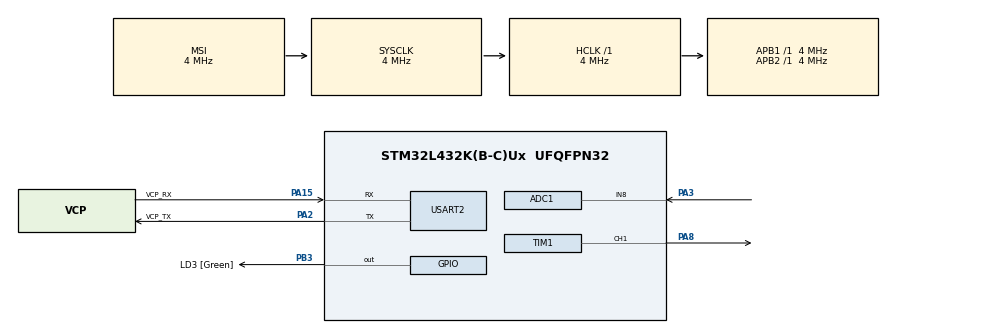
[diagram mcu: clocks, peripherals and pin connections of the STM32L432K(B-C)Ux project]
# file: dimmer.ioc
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ADC1.Channel-0\#ChannelRegularConversion=ADC_CHANNEL_8
ADC1.ContinuousConvMode=ENABLE
ADC1.DMAContinuousRequests=ENABLE
ADC1.NbrOfConversionFlag=1
ADC1.OffsetNumber-0\#ChannelRegularConversion=ADC_OFFSET_NONE
ADC1.Rank-0\#ChannelRegularConversion=1
ADC1.SamplingTime-0\#ChannelRegularConversion=ADC_SAMPLETIME_47CYCLES_5
ADC1.master=1
Dma.ADC1.0.Direction=DMA_PERIPH_TO_MEMORY
Dma.ADC1.0.Instance=DMA1_Channel1
Dma.ADC1.0.MemDataAlignment=DMA_MDATAALIGN_HALFWORD
Dma.ADC1.0.MemInc=DMA_MINC_ENABLE
Dma.ADC1.0.Mode=DMA_CIRCULAR
Dma.ADC1.0.PeriphDataAlignment=DMA_PDATAALIGN_HALFWORD
Dma.ADC1.0.PeriphInc=DMA_PINC_DISABLE
Dma.ADC1.0.Priority=DMA_PRIORITY_LOW
Dma.Request0=ADC1
Mcu.Family=STM32L4
Mcu.Name=STM32L432K(B-C)Ux
Mcu.Package=UFQFPN32
NVIC.DMA1_Channel1_IRQn=true\:0\:0\:false\:false\:true\:false\:true\:true
NVIC.PriorityGroup=NVIC_PRIORITYGROUP_4
PA13\ (JTMS-SWDIO).GPIO_Label=SWDIO
PA13\ (JTMS-SWDIO).Mode=Serial_Wire
PA13\ (JTMS-SWDIO).Signal=SYS_JTMS-SWDIO
PA14\ (JTCK-SWCLK).GPIO_Label=SWCLK
PA14\ (JTCK-SWCLK).Mode=Serial_Wire
PA14\ (JTCK-SWCLK).Signal=SYS_JTCK-SWCLK
PA15\ (JTDI).GPIO_Label=VCP_RX
PA15\ (JTDI).Mode=Asynchronous
PA15\ (JTDI).Signal=USART2_RX
PA2.GPIO_Label=VCP_TX
PA2.Mode=Asynchronous
PA2.Signal=USART2_TX
PA3.Signal=ADCx_IN8
PA8.Signal=S_TIM1_CH1
PB3\ (JTDO-TRACESWO).GPIO_Label=LD3 [Green]
PB3\ (JTDO-TRACESWO).Signal=GPIO_Output
ProjectManager.HeapSize=0x200
ProjectManager.StackSize=0x400
ProjectManager.TargetToolchain=STM32CubeIDE
RCC.ADCFreq_Value=32000000
RCC.AHBFreq_Value=4000000
RCC.APB1Freq_Value=4000000
RCC.APB1TimFreq_Value=4000000
RCC.APB2Freq_Value=4000000
RCC.APB2TimFreq_Value=4000000
RCC.CortexFreq_Value=4000000
RCC.HCLKFreq_Value=4000000
RCC.HSE_VALUE=8000000
RCC.HSI16_VALUE=16000000
RCC.HSI48_VALUE=48000000
RCC.HSI_VALUE=16000000
RCC.MSI_VALUE=4000000
RCC.PLLMUL=RCC_PLLMUL_4
RCC.PLLN=16
RCC.PLLSAI1N=16
RCC.SYSCLKFreq_VALUE=4000000
RCC.USBFreq_Value=32000000
RCC.VCOOutputFreq_Value=64000000
SH.ADCx_IN8.0=ADC1_IN8,IN8-Single-Ended
SH.S_TIM1_CH1.0=TIM1_CH1,PWM Generation1 CH1
TIM1.AutoReloadPreload=TIM_AUTORELOAD_PRELOAD_ENABLE
TIM1.Channel-PWM\ Generation1\ CH1=TIM_CHANNEL_1
TIM1.Period=255
TIM1.Prescaler=15
USART2.VirtualMode-Asynchronous=VM_ASYNC
VP_TIM1_VS_ClockSourceINT.Mode=Internal
board=NUCLEO-L432KC

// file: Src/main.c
/* USER CODE BEGIN Header */
/**
  ******************************************************************************
  * @file           : main.c
  * @brief          : Main program body
  ******************************************************************************
  * @attention
  *
  * Copyright (c) 2025 STMicroelectronics.
  * All rights reserved.
  *
  * This software is licensed under terms that can be found in the LICENSE file
  * in the root directory of this software component.
  * If no LICENSE file comes with this software, it is provided AS-IS.
  *
  ******************************************************************************
  */
/* USER CODE END Header */
#include "main.h"

/* USER CODE BEGIN Includes */
#include <string.h>
#include <stdarg.h>
#include <stdio.h>
#include <stdint.h>
extern UART_HandleTypeDef huart2;
const int   ADC_MAX = 4095;
#define ADC_BUF_LEN 128
volatile uint16_t adc_buf[ADC_BUF_LEN];

static uint16_t get_avg(const volatile uint16_t *buf, size_t n);
static float get_volts(uint16_t sample, float vref);

void uart_print(const char *msg)
{
    HAL_UART_Transmit(&huart2, (uint8_t*)msg, strlen(msg), HAL_MAX_DELAY);
}

void uart_printf(const char *fmt, ...)
{
    char buf[128];
    va_list args;
    va_start(args, fmt);
    vsnprintf(buf, sizeof(buf), fmt, args);
    va_end(args);
    HAL_UART_Transmit(&huart2, (uint8_t*)buf, strlen(buf), HAL_MAX_DELAY);
}

static uint16_t get_avg(const volatile uint16_t *buf, size_t n)
{
    uint32_t sum = 0;
    for (size_t i = 0; i < n; ++i) sum += buf[i];   // reading volatile is fine
    return (uint16_t)(sum / n);
}

static float get_volts(uint16_t avg, float vref)
{
    return (vref * (float)avg) / ADC_MAX;
}
/* USER CODE END Includes */

ADC_HandleTypeDef hadc1;
DMA_HandleTypeDef hdma_adc1;

TIM_HandleTypeDef htim1;
UART_HandleTypeDef huart2;

void SystemClock_Config(void);
static void MX_GPIO_Init(void);
static void MX_DMA_Init(void);
static void MX_ADC1_Init(void);
static void MX_USART2_UART_Init(void);
static void MX_TIM1_Init(void);

int main(void)
{
    HAL_Init();
    SystemClock_Config();
    MX_GPIO_Init();
    MX_DMA_Init();
    MX_ADC1_Init();
    MX_TIM1_Init();
    MX_USART2_UART_Init();
    // Calibrate once after init
    HAL_ADCEx_Calibration_Start(&hadc1, ADC_SINGLE_ENDED);
    HAL_ADC_Start_DMA(&hadc1, (uint32_t*)adc_buf, ADC_BUF_LEN);
    HAL_TIM_PWM_Start(&htim1, TIM_CHANNEL_1);

    const float vref = 3.3f;
    while (1) {
    	uint16_t raw = get_avg(adc_buf, ADC_BUF_LEN); // 0 - 4095
    	int32_t duty = (uint32_t)raw * 255u + 2047u; //Adding half the divisor before dividing implements round-to-nearest
    	duty /= 4095u;
    	float volts = get_volts(raw, vref);
    	uart_printf("Avg: %u   V: %.3f\r\n", raw, volts);
    	uart_printf("Value: %u  \r\n", duty);
    	__HAL_TIM_SET_COMPARE(&htim1, TIM_CHANNEL_1, duty);
    	HAL_Delay(200);
    }
}

void SystemClock_Config(void)
{
  RCC_OscInitTypeDef RCC_OscInitStruct = {0};
  RCC_ClkInitTypeDef RCC_ClkInitStruct = {0};

  /** Configure the main internal regulator output voltage
  */
  if (HAL_PWREx_ControlVoltageScaling(PWR_REGULATOR_VOLTAGE_SCALE1) != HAL_OK)
  {
    Error_Handler();
  }

  /** Initializes the RCC Oscillators according to the specified parameters
  * in the RCC_OscInitTypeDef structure.
  */
  RCC_OscInitStruct.OscillatorType = RCC_OSCILLATORTYPE_MSI;
  RCC_OscInitStruct.MSIState = RCC_MSI_ON;
  RCC_OscInitStruct.MSICalibrationValue = 0;
  RCC_OscInitStruct.MSIClockRange = RCC_MSIRANGE_6;
  RCC_OscInitStruct.PLL.PLLState = RCC_PLL_NONE;
  if (HAL_RCC_OscConfig(&RCC_OscInitStruct) != HAL_OK)
  {
    Error_Handler();
  }

  /** Initializes the CPU, AHB and APB buses clocks
  */
  RCC_ClkInitStruct.ClockType = RCC_CLOCKTYPE_HCLK|RCC_CLOCKTYPE_SYSCLK
                              |RCC_CLOCKTYPE_PCLK1|RCC_CLOCKTYPE_PCLK2;
  RCC_ClkInitStruct.SYSCLKSource = RCC_SYSCLKSOURCE_MSI;
  RCC_ClkInitStruct.AHBCLKDivider = RCC_SYSCLK_DIV1;
  RCC_ClkInitStruct.APB1CLKDivider = RCC_HCLK_DIV1;
  RCC_ClkInitStruct.APB2CLKDivider = RCC_HCLK_DIV1;

  if (HAL_RCC_ClockConfig(&RCC_ClkInitStruct, FLASH_LATENCY_0) != HAL_OK)
  {
    Error_Handler();
  }
}

static void MX_ADC1_Init(void)
{

  ADC_ChannelConfTypeDef sConfig = {0};

  /** Common config
  */
  hadc1.Instance = ADC1;
  hadc1.Init.ClockPrescaler = ADC_CLOCK_ASYNC_DIV1;
  hadc1.Init.Resolution = ADC_RESOLUTION_12B;
  hadc1.Init.DataAlign = ADC_DATAALIGN_RIGHT;
  hadc1.Init.ScanConvMode = ADC_SCAN_DISABLE;
  hadc1.Init.EOCSelection = ADC_EOC_SINGLE_CONV;
  hadc1.Init.LowPowerAutoWait = DISABLE;
  hadc1.Init.ContinuousConvMode = ENABLE;
  hadc1.Init.NbrOfConversion = 1;
  hadc1.Init.DiscontinuousConvMode = DISABLE;
  hadc1.Init.ExternalTrigConv = ADC_SOFTWARE_START;
  hadc1.Init.ExternalTrigConvEdge = ADC_EXTERNALTRIGCONVEDGE_NONE;
  hadc1.Init.DMAContinuousRequests = ENABLE;
  hadc1.Init.Overrun = ADC_OVR_DATA_PRESERVED;
  hadc1.Init.OversamplingMode = DISABLE;
  if (HAL_ADC_Init(&hadc1) != HAL_OK)
  {
    Error_Handler();
  }

  /** Configure Regular Channel
  */
  sConfig.Channel = ADC_CHANNEL_8;
  sConfig.Rank = ADC_REGULAR_RANK_1;
  sConfig.SamplingTime = ADC_SAMPLETIME_47CYCLES_5;
  sConfig.SingleDiff = ADC_SINGLE_ENDED;
  sConfig.OffsetNumber = ADC_OFFSET_NONE;
  sConfig.Offset = 0;
  if (HAL_ADC_ConfigChannel(&hadc1, &sConfig) != HAL_OK)
  {
    Error_Handler();
  }

}

static void MX_TIM1_Init(void)
{

  TIM_ClockConfigTypeDef sClockSourceConfig = {0};
  TIM_MasterConfigTypeDef sMasterConfig = {0};
  TIM_OC_InitTypeDef sConfigOC = {0};
  TIM_BreakDeadTimeConfigTypeDef sBreakDeadTimeConfig = {0};

  htim1.Instance = TIM1;
  htim1.Init.Prescaler = 15;
  htim1.Init.CounterMode = TIM_COUNTERMODE_UP;
  htim1.Init.Period = 255;
  htim1.Init.ClockDivision = TIM_CLOCKDIVISION_DIV1;
  htim1.Init.RepetitionCounter = 0;
  htim1.Init.AutoReloadPreload = TIM_AUTORELOAD_PRELOAD_ENABLE;
  if (HAL_TIM_Base_Init(&htim1) != HAL_OK)
  {
    Error_Handler();
  }
  sClockSourceConfig.ClockSource = TIM_CLOCKSOURCE_INTERNAL;
  if (HAL_TIM_ConfigClockSource(&htim1, &sClockSourceConfig) != HAL_OK)
  {
    Error_Handler();
  }
  if (HAL_TIM_PWM_Init(&htim1) != HAL_OK)
  {
    Error_Handler();
  }
  sMasterConfig.MasterOutputTrigger = TIM_TRGO_RESET;
  sMasterConfig.MasterOutputTrigger2 = TIM_TRGO2_RESET;
  sMasterConfig.MasterSlaveMode = TIM_MASTERSLAVEMODE_DISABLE;
  if (HAL_TIMEx_MasterConfigSynchronization(&htim1, &sMasterConfig) != HAL_OK)
  {
    Error_Handler();
  }
  sConfigOC.OCMode = TIM_OCMODE_PWM1;
  sConfigOC.Pulse = 0;
  sConfigOC.OCPolarity = TIM_OCPOLARITY_HIGH;
  sConfigOC.OCNPolarity = TIM_OCNPOLARITY_HIGH;
  sConfigOC.OCFastMode = TIM_OCFAST_DISABLE;
  sConfigOC.OCIdleState = TIM_OCIDLESTATE_RESET;
  sConfigOC.OCNIdleState = TIM_OCNIDLESTATE_RESET;
  if (HAL_TIM_PWM_ConfigChannel(&htim1, &sConfigOC, TIM_CHANNEL_1) != HAL_OK)
  {
    Error_Handler();
  }
  sBreakDeadTimeConfig.OffStateRunMode = TIM_OSSR_DISABLE;
  sBreakDeadTimeConfig.OffStateIDLEMode = TIM_OSSI_DISABLE;
  sBreakDeadTimeConfig.LockLevel = TIM_LOCKLEVEL_OFF;
  sBreakDeadTimeConfig.DeadTime = 0;
  sBreakDeadTimeConfig.BreakState = TIM_BREAK_DISABLE;
  sBreakDeadTimeConfig.BreakPolarity = TIM_BREAKPOLARITY_HIGH;
  sBreakDeadTimeConfig.BreakFilter = 0;
  sBreakDeadTimeConfig.Break2State = TIM_BREAK2_DISABLE;
  sBreakDeadTimeConfig.Break2Polarity = TIM_BREAK2POLARITY_HIGH;
  sBreakDeadTimeConfig.Break2Filter = 0;
  sBreakDeadTimeConfig.AutomaticOutput = TIM_AUTOMATICOUTPUT_DISABLE;
  if (HAL_TIMEx_ConfigBreakDeadTime(&htim1, &sBreakDeadTimeConfig) != HAL_OK)
  {
    Error_Handler();
  }
  HAL_TIM_MspPostInit(&htim1);

}

static void MX_USART2_UART_Init(void)
{

  huart2.Instance = USART2;
  huart2.Init.BaudRate = 115200;
  huart2.Init.WordLength = UART_WORDLENGTH_8B;
  huart2.Init.StopBits = UART_STOPBITS_1;
  huart2.Init.Parity = UART_PARITY_NONE;
  huart2.Init.Mode = UART_MODE_TX_RX;
  huart2.Init.HwFlowCtl = UART_HWCONTROL_NONE;
  huart2.Init.OverSampling = UART_OVERSAMPLING_16;
  huart2.Init.OneBitSampling = UART_ONE_BIT_SAMPLE_DISABLE;
  huart2.AdvancedInit.AdvFeatureInit = UART_ADVFEATURE_NO_INIT;
  if (HAL_UART_Init(&huart2) != HAL_OK)
  {
    Error_Handler();
  }

}

static void MX_DMA_Init(void)
{

  /* DMA controller clock enable */
  __HAL_RCC_DMA1_CLK_ENABLE();

  /* DMA interrupt init */
  /* DMA1_Channel1_IRQn interrupt configuration */
  HAL_NVIC_SetPriority(DMA1_Channel1_IRQn, 0, 0);
  HAL_NVIC_EnableIRQ(DMA1_Channel1_IRQn);

}

static void MX_GPIO_Init(void)
{
  GPIO_InitTypeDef GPIO_InitStruct = {0};

  /* GPIO Ports Clock Enable */
  __HAL_RCC_GPIOA_CLK_ENABLE();
  __HAL_RCC_GPIOB_CLK_ENABLE();

  /*Configure GPIO pin Output Level */
  HAL_GPIO_WritePin(LD3_GPIO_Port, LD3_Pin, GPIO_PIN_RESET);

  /*Configure GPIO pin : LD3_Pin */
  GPIO_InitStruct.Pin = LD3_Pin;
  GPIO_InitStruct.Mode = GPIO_MODE_OUTPUT_PP;
  GPIO_InitStruct.Pull = GPIO_NOPULL;
  GPIO_InitStruct.Speed = GPIO_SPEED_FREQ_LOW;
  HAL_GPIO_Init(LD3_GPIO_Port, &GPIO_InitStruct);

}

void Error_Handler(void)
{
  __disable_irq();
  while (1)
  {
  }
}
